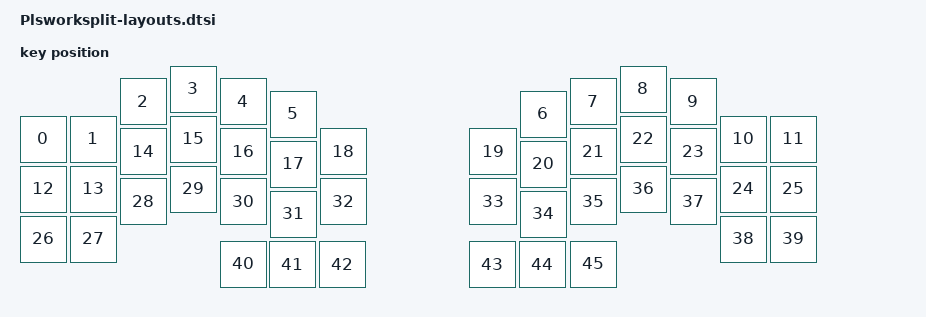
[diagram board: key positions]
#include <physical_layouts.dtsi>

/ {
    physical_layout0: physical_layout_0 {
        compatible = "zmk,physical-layout";
        display-name = "Default Layout";
        kscan = <&kscan0>;
        transform = <&default_transform>;

        keys =
              //                    w    h    x     y     rot    rx    ry
              // Row 0
              <&key_physical_attrs 100  100   0   100       0     0     0>
            , <&key_physical_attrs 100  100 100   100       0     0     0>
            , <&key_physical_attrs 100  100 200   25       0     0     0>
            , <&key_physical_attrs 100  100 300   0       0     0     0>
            , <&key_physical_attrs 100  100 400   25       0     0     0>
            , <&key_physical_attrs 100  100 500   50       0     0     0>
            
            , <&key_physical_attrs 100  100 1000   50       0     0     0>
            , <&key_physical_attrs 100  100 1100   25       0     0     0>
            , <&key_physical_attrs 100  100 1200  0       0     0     0>
            , <&key_physical_attrs 100  100 1300  25       0     0     0>
            , <&key_physical_attrs 100  100 1400  100       0     0     0>
            , <&key_physical_attrs 100  100 1500  100       0     0     0>

              // Row 1
            , <&key_physical_attrs 100  100   0   200     0     0     0>
            , <&key_physical_attrs 100  100 100   200     0     0     0>
            , <&key_physical_attrs 100  100 200   125     0     0     0>
            , <&key_physical_attrs 100  100 300   100     0     0     0>
            , <&key_physical_attrs 100  100 400   125     0     0     0>
            , <&key_physical_attrs 100  100 500   150     0     0     0>
            , <&key_physical_attrs 100  100 600   125     0     0     0>

            , <&key_physical_attrs 100  100 900   125     0     0     0>
            , <&key_physical_attrs 100  100 1000   150     0     0     0>
            , <&key_physical_attrs 100  100 1100   125     0     0     0>
            , <&key_physical_attrs 100  100 1200  100     0     0     0>
            , <&key_physical_attrs 100  100 1300  125     0     0     0>
            , <&key_physical_attrs 100  100 1400  200     0     0     0>
            , <&key_physical_attrs 100  100 1500  200     0     0     0>

            // Row 2
            , <&key_physical_attrs 100  100   0   300     0     0     0>
            , <&key_physical_attrs 100  100 100   300     0     0     0>
            , <&key_physical_attrs 100  100 200   225     0     0     0>
            , <&key_physical_attrs 100  100 300   200     0     0     0>
            , <&key_physical_attrs 100  100 400   225     0     0     0>
            , <&key_physical_attrs 100  100 500   250     0     0     0>
            , <&key_physical_attrs 100  100 600   225     0     0     0>

            , <&key_physical_attrs 100  100 900   225     0     0     0>
            , <&key_physical_attrs 100  100 1000   250     0     0     0>
            , <&key_physical_attrs 100  100 1100   225     0     0     0>
            , <&key_physical_attrs 100  100 1200  200     0     0     0>
            , <&key_physical_attrs 100  100 1300  225     0     0     0>
            , <&key_physical_attrs 100  100 1400  300     0     0     0>
            , <&key_physical_attrs 100  100 1500  300     0     0     0>

            // Row 3
           
            , <&key_physical_attrs 100  100 400   350     0     0     0>
            , <&key_physical_attrs 100  100 500   350     5     5     0>
            , <&key_physical_attrs 100  100 600   350     10     10     0>

            , <&key_physical_attrs 100  100 900   350     10     10     0>
            , <&key_physical_attrs 100  100 1000   350     5     5     0>
            , <&key_physical_attrs 100  100 1100   350     0     0     0>
            ;
    };
};
